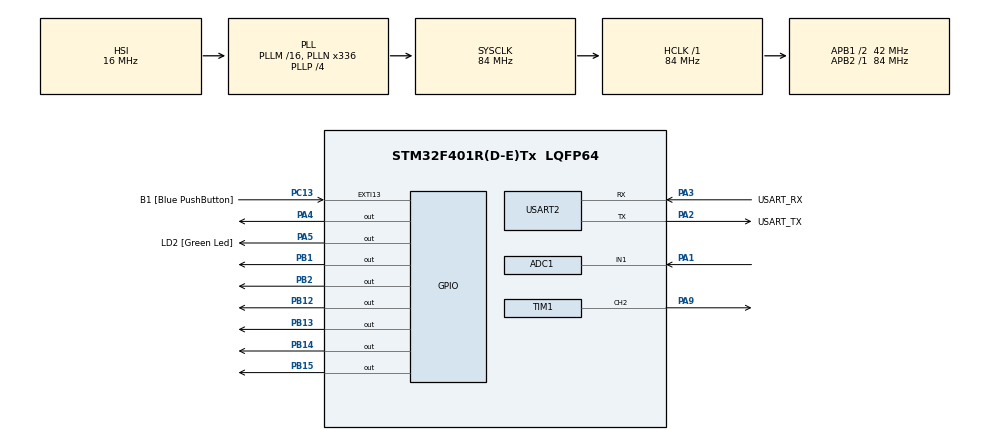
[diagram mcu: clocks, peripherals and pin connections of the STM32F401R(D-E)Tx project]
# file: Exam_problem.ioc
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ADC1.Channel-0\#ChannelRegularConversion=ADC_CHANNEL_1
ADC1.ExternalTrigConv=ADC_EXTERNALTRIGCONV_T2_TRGO
ADC1.NbrOfConversionFlag=1
ADC1.Rank-0\#ChannelRegularConversion=1
ADC1.SamplingTime-0\#ChannelRegularConversion=ADC_SAMPLETIME_480CYCLES
ADC1.master=1
Mcu.Family=STM32F4
Mcu.Name=STM32F401R(D-E)Tx
Mcu.Package=LQFP64
NVIC.ADC_IRQn=true\:0\:0\:false\:false\:true\:true\:true
NVIC.PriorityGroup=NVIC_PRIORITYGROUP_0
NVIC.TIM3_IRQn=true\:0\:0\:false\:false\:true\:true\:true
PA1.Signal=ADCx_IN1
PA13.GPIO_Label=TMS
PA13.Mode=Serial_Wire
PA13.Signal=SYS_JTMS-SWDIO
PA14.GPIO_Label=TCK
PA14.Mode=Serial_Wire
PA14.Signal=SYS_JTCK-SWCLK
PA2.GPIO_Label=USART_TX
PA2.GPIO_Mode=GPIO_MODE_AF_PP
PA2.GPIO_PuPd=GPIO_NOPULL
PA2.GPIO_Speed=GPIO_SPEED_FREQ_LOW
PA2.Mode=Asynchronous
PA2.Signal=USART2_TX
PA3.GPIO_Label=USART_RX
PA3.GPIO_Mode=GPIO_MODE_AF_PP
PA3.GPIO_PuPd=GPIO_NOPULL
PA3.GPIO_Speed=GPIO_SPEED_FREQ_LOW
PA3.Mode=Asynchronous
PA3.Signal=USART2_RX
PA4.Signal=GPIO_Output
PA5.GPIO_Label=LD2 [Green Led]
PA5.GPIO_Mode=GPIO_MODE_OUTPUT_PP
PA5.GPIO_PuPd=GPIO_NOPULL
PA5.GPIO_Speed=GPIO_SPEED_FREQ_LOW
PA5.Signal=GPIO_Output
PA9.Signal=S_TIM1_CH2
PB1.Signal=GPIO_Output
PB12.Signal=GPIO_Output
PB13.Signal=GPIO_Output
PB14.Signal=GPIO_Output
PB15.Signal=GPIO_Output
PB2.Signal=GPIO_Output
PB3.GPIO_Label=SWO
PB3.Signal=SYS_JTDO-SWO
PC13-ANTI_TAMP.GPIO_Label=B1 [Blue PushButton]
PC13-ANTI_TAMP.GPIO_ModeDefaultEXTI=GPIO_MODE_IT_FALLING
PC13-ANTI_TAMP.GPIO_PuPd=GPIO_NOPULL
PC13-ANTI_TAMP.Signal=GPXTI13
PC14-OSC32_IN.Mode=LSE-External-Oscillator
PC14-OSC32_IN.Signal=RCC_OSC32_IN
PC15-OSC32_OUT.Mode=LSE-External-Oscillator
PC15-OSC32_OUT.Signal=RCC_OSC32_OUT
PH0\ -\ OSC_IN.Mode=HSE-External-Clock-Source
PH0\ -\ OSC_IN.Signal=RCC_OSC_IN
PH1\ -\ OSC_OUT.Mode=HSE-External-Clock-Source
PH1\ -\ OSC_OUT.Signal=RCC_OSC_OUT
ProjectManager.HeapSize=0x200
ProjectManager.StackSize=0x400
ProjectManager.TargetToolchain=STM32CubeIDE
RCC.48MHZClocksFreq_Value=48000000
RCC.AHBFreq_Value=84000000
RCC.APB1CLKDivider=RCC_HCLK_DIV2
RCC.APB1Freq_Value=42000000
RCC.APB1TimFreq_Value=84000000
RCC.APB2Freq_Value=84000000
RCC.APB2TimFreq_Value=84000000
RCC.CortexFreq_Value=84000000
RCC.HCLKFreq_Value=84000000
RCC.HSE_VALUE=8000000
RCC.HSI_VALUE=16000000
RCC.PLLN=336
RCC.PLLP=RCC_PLLP_DIV4
RCC.PLLQ=7
RCC.SYSCLKFreq_VALUE=84000000
RCC.SYSCLKSource=RCC_SYSCLKSOURCE_PLLCLK
RCC.VCOOutputFreq_Value=336000000
SH.ADCx_IN1.0=ADC1_IN1,IN1
SH.S_TIM1_CH2.0=TIM1_CH2,PWM Generation2 CH2
TIM1.Channel-PWM\ Generation2\ CH2=TIM_CHANNEL_2
TIM2.Period=10000-1
TIM2.Prescaler=8400-1
TIM2.TIM_MasterOutputTrigger=TIM_TRGO_UPDATE
TIM3.Period=10000-1
TIM3.Prescaler=8400-1
USART2.VirtualMode=VM_ASYNC
VP_TIM2_VS_ClockSourceINT.Mode=Internal
VP_TIM3_VS_ClockSourceINT.Mode=Internal
board=NUCLEO-F401RE

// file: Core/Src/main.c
/* USER CODE BEGIN Header */
/**
  ******************************************************************************
  * @file           : main.c
  * @brief          : Main program body
  ******************************************************************************
  * @attention
  *
  * Copyright (c) 2022 STMicroelectronics.
  * All rights reserved.
  *
  * This software is licensed under terms that can be found in the LICENSE file
  * in the root directory of this software component.
  * If no LICENSE file comes with this software, it is provided AS-IS.
  *
  ******************************************************************************
  */
/* USER CODE END Header */
#include "main.h"

ADC_HandleTypeDef hadc1;

TIM_HandleTypeDef htim1;
TIM_HandleTypeDef htim2;
TIM_HandleTypeDef htim3;

UART_HandleTypeDef huart2;

void SystemClock_Config(void);
static void MX_GPIO_Init(void);
static void MX_USART2_UART_Init(void);
static void MX_ADC1_Init(void);
static void MX_TIM1_Init(void);
static void MX_TIM2_Init(void);
static void MX_TIM3_Init(void);

/* USER CODE BEGIN 0 */
#define SOL 2143
#define LA 1910

float conversion;
float old_value = 0.0;
void HAL_ADC_ConvCpltCallback(ADC_HandleTypeDef* hadc)
{

	          old_value = conversion;
	   		  int value = HAL_ADC_GetValue(&hadc1);
	   		  conversion = value*3.3/4096.0; //Conversion to float
	   		  char string [64];
	   		  int length =  snprintf(string, sizeof(string),"Value: %.3f V", conversion);
	   		  lcd_println(string, 0);
	   		  int bar_value = conversion*80/3.3;
	   		  lcd_drawBar(bar_value);

	   		  //if the old value was already less than 0.5, don't play the note
	   		  if(old_value >= 0.5 && conversion < 0.5)
	   		  {
	   			  playnote(SOL);
	   		  }
	   		  else if(old_value <= 2.8 && conversion > 2.8)
	   		  {
	   			  playnote(LA);
	   		  }

}

//plays the note for the counter of the note
void playnote(counter)
{
	 TIM_OC_InitTypeDef sConfigOC = {0};

	  /* USER CODE BEGIN TIM1_Init 1 */

	  /* USER CODE END TIM1_Init 1 */

	  htim1.Instance = TIM1;
	  htim1.Init.Prescaler = 100-1;
	  htim1.Init.CounterMode = TIM_COUNTERMODE_UP;
	  htim1.Init.Period = counter - 1;
	  htim1.Init.ClockDivision = TIM_CLOCKDIVISION_DIV1;
	  htim1.Init.RepetitionCounter = 0;
	  htim1.Init.AutoReloadPreload = TIM_AUTORELOAD_PRELOAD_DISABLE;
	  if (HAL_TIM_PWM_Init(&htim1) != HAL_OK)
	  {
		Error_Handler();
	  }

	  sConfigOC.OCMode = TIM_OCMODE_PWM1;
	  sConfigOC.Pulse = counter/2 - 1;
	  sConfigOC.OCPolarity = TIM_OCPOLARITY_HIGH;
	  sConfigOC.OCNPolarity = TIM_OCNPOLARITY_HIGH;
	  sConfigOC.OCFastMode = TIM_OCFAST_DISABLE;
	  sConfigOC.OCIdleState = TIM_OCIDLESTATE_RESET;
	  sConfigOC.OCNIdleState = TIM_OCNIDLESTATE_RESET;
	  if (HAL_TIM_PWM_ConfigChannel(&htim1, &sConfigOC, TIM_CHANNEL_2) != HAL_OK)
	  {
		Error_Handler();
	  }

	  HAL_TIM_PWM_Start(&htim1, TIM_CHANNEL_2);

	  HAL_TIM_Base_Start_IT(&htim3);

}

void HAL_TIM_PeriodElapsedCallback(TIM_HandleTypeDef *htim)
{
	if(htim == &htim3)
	{
		HAL_TIM_PWM_Stop(&htim1, TIM_CHANNEL_2);
		HAL_TIM_Base_Stop(&htim3);
	}
}
/* USER CODE END 0 */

int main(void)
{

  /* MCU Configuration--------------------------------------------------------*/

  /* Reset of all peripherals, Initializes the Flash interface and the Systick. */
  HAL_Init();

  /* Configure the system clock */
  SystemClock_Config();

  /* Initialize all configured peripherals */
  MX_GPIO_Init();
  MX_USART2_UART_Init();
  MX_ADC1_Init();
  MX_TIM1_Init();
  MX_TIM2_Init();
  MX_TIM3_Init();
  /* USER CODE BEGIN 2 */
  lcd_initialize();
  lcd_backlight_ON();
  HAL_TIM_Base_Start(&htim2);
  HAL_ADC_Start_IT(&hadc1);
  /* USER CODE END 2 */

  /* Infinite loop */
  while (1)
  {

  }
}

void SystemClock_Config(void)
{
  RCC_OscInitTypeDef RCC_OscInitStruct = {0};
  RCC_ClkInitTypeDef RCC_ClkInitStruct = {0};

  /** Configure the main internal regulator output voltage
  */
  __HAL_RCC_PWR_CLK_ENABLE();
  __HAL_PWR_VOLTAGESCALING_CONFIG(PWR_REGULATOR_VOLTAGE_SCALE2);
  /** Initializes the RCC Oscillators according to the specified parameters
  * in the RCC_OscInitTypeDef structure.
  */
  RCC_OscInitStruct.OscillatorType = RCC_OSCILLATORTYPE_HSI;
  RCC_OscInitStruct.HSIState = RCC_HSI_ON;
  RCC_OscInitStruct.HSICalibrationValue = RCC_HSICALIBRATION_DEFAULT;
  RCC_OscInitStruct.PLL.PLLState = RCC_PLL_ON;
  RCC_OscInitStruct.PLL.PLLSource = RCC_PLLSOURCE_HSI;
  RCC_OscInitStruct.PLL.PLLM = 16;
  RCC_OscInitStruct.PLL.PLLN = 336;
  RCC_OscInitStruct.PLL.PLLP = RCC_PLLP_DIV4;
  RCC_OscInitStruct.PLL.PLLQ = 7;
  if (HAL_RCC_OscConfig(&RCC_OscInitStruct) != HAL_OK)
  {
    Error_Handler();
  }
  /** Initializes the CPU, AHB and APB buses clocks
  */
  RCC_ClkInitStruct.ClockType = RCC_CLOCKTYPE_HCLK|RCC_CLOCKTYPE_SYSCLK
                              |RCC_CLOCKTYPE_PCLK1|RCC_CLOCKTYPE_PCLK2;
  RCC_ClkInitStruct.SYSCLKSource = RCC_SYSCLKSOURCE_PLLCLK;
  RCC_ClkInitStruct.AHBCLKDivider = RCC_SYSCLK_DIV1;
  RCC_ClkInitStruct.APB1CLKDivider = RCC_HCLK_DIV2;
  RCC_ClkInitStruct.APB2CLKDivider = RCC_HCLK_DIV1;

  if (HAL_RCC_ClockConfig(&RCC_ClkInitStruct, FLASH_LATENCY_2) != HAL_OK)
  {
    Error_Handler();
  }
}

static void MX_ADC1_Init(void)
{

  ADC_ChannelConfTypeDef sConfig = {0};

  /** Configure the global features of the ADC (Clock, Resolution, Data Alignment and number of conversion)
  */
  hadc1.Instance = ADC1;
  hadc1.Init.ClockPrescaler = ADC_CLOCK_SYNC_PCLK_DIV4;
  hadc1.Init.Resolution = ADC_RESOLUTION_12B;
  hadc1.Init.ScanConvMode = DISABLE;
  hadc1.Init.ContinuousConvMode = DISABLE;
  hadc1.Init.DiscontinuousConvMode = DISABLE;
  hadc1.Init.ExternalTrigConvEdge = ADC_EXTERNALTRIGCONVEDGE_RISING;
  hadc1.Init.ExternalTrigConv = ADC_EXTERNALTRIGCONV_T2_TRGO;
  hadc1.Init.DataAlign = ADC_DATAALIGN_RIGHT;
  hadc1.Init.NbrOfConversion = 1;
  hadc1.Init.DMAContinuousRequests = DISABLE;
  hadc1.Init.EOCSelection = ADC_EOC_SINGLE_CONV;
  if (HAL_ADC_Init(&hadc1) != HAL_OK)
  {
    Error_Handler();
  }
  /** Configure for the selected ADC regular channel its corresponding rank in the sequencer and its sample time.
  */
  sConfig.Channel = ADC_CHANNEL_1;
  sConfig.Rank = 1;
  sConfig.SamplingTime = ADC_SAMPLETIME_480CYCLES;
  if (HAL_ADC_ConfigChannel(&hadc1, &sConfig) != HAL_OK)
  {
    Error_Handler();
  }

}

static void MX_TIM1_Init(void)
{

  TIM_MasterConfigTypeDef sMasterConfig = {0};
  TIM_OC_InitTypeDef sConfigOC = {0};
  TIM_BreakDeadTimeConfigTypeDef sBreakDeadTimeConfig = {0};

  htim1.Instance = TIM1;
  htim1.Init.Prescaler = 0;
  htim1.Init.CounterMode = TIM_COUNTERMODE_UP;
  htim1.Init.Period = 65535;
  htim1.Init.ClockDivision = TIM_CLOCKDIVISION_DIV1;
  htim1.Init.RepetitionCounter = 0;
  htim1.Init.AutoReloadPreload = TIM_AUTORELOAD_PRELOAD_DISABLE;
  if (HAL_TIM_PWM_Init(&htim1) != HAL_OK)
  {
    Error_Handler();
  }
  sMasterConfig.MasterOutputTrigger = TIM_TRGO_RESET;
  sMasterConfig.MasterSlaveMode = TIM_MASTERSLAVEMODE_DISABLE;
  if (HAL_TIMEx_MasterConfigSynchronization(&htim1, &sMasterConfig) != HAL_OK)
  {
    Error_Handler();
  }
  sConfigOC.OCMode = TIM_OCMODE_PWM1;
  sConfigOC.Pulse = 0;
  sConfigOC.OCPolarity = TIM_OCPOLARITY_HIGH;
  sConfigOC.OCNPolarity = TIM_OCNPOLARITY_HIGH;
  sConfigOC.OCFastMode = TIM_OCFAST_DISABLE;
  sConfigOC.OCIdleState = TIM_OCIDLESTATE_RESET;
  sConfigOC.OCNIdleState = TIM_OCNIDLESTATE_RESET;
  if (HAL_TIM_PWM_ConfigChannel(&htim1, &sConfigOC, TIM_CHANNEL_2) != HAL_OK)
  {
    Error_Handler();
  }
  sBreakDeadTimeConfig.OffStateRunMode = TIM_OSSR_DISABLE;
  sBreakDeadTimeConfig.OffStateIDLEMode = TIM_OSSI_DISABLE;
  sBreakDeadTimeConfig.LockLevel = TIM_LOCKLEVEL_OFF;
  sBreakDeadTimeConfig.DeadTime = 0;
  sBreakDeadTimeConfig.BreakState = TIM_BREAK_DISABLE;
  sBreakDeadTimeConfig.BreakPolarity = TIM_BREAKPOLARITY_HIGH;
  sBreakDeadTimeConfig.AutomaticOutput = TIM_AUTOMATICOUTPUT_DISABLE;
  if (HAL_TIMEx_ConfigBreakDeadTime(&htim1, &sBreakDeadTimeConfig) != HAL_OK)
  {
    Error_Handler();
  }
  HAL_TIM_MspPostInit(&htim1);

}

static void MX_TIM2_Init(void)
{

  TIM_ClockConfigTypeDef sClockSourceConfig = {0};
  TIM_MasterConfigTypeDef sMasterConfig = {0};

  htim2.Instance = TIM2;
  htim2.Init.Prescaler = 8400-1;
  htim2.Init.CounterMode = TIM_COUNTERMODE_UP;
  htim2.Init.Period = 10000-1;
  htim2.Init.ClockDivision = TIM_CLOCKDIVISION_DIV1;
  htim2.Init.AutoReloadPreload = TIM_AUTORELOAD_PRELOAD_DISABLE;
  if (HAL_TIM_Base_Init(&htim2) != HAL_OK)
  {
    Error_Handler();
  }
  sClockSourceConfig.ClockSource = TIM_CLOCKSOURCE_INTERNAL;
  if (HAL_TIM_ConfigClockSource(&htim2, &sClockSourceConfig) != HAL_OK)
  {
    Error_Handler();
  }
  sMasterConfig.MasterOutputTrigger = TIM_TRGO_UPDATE;
  sMasterConfig.MasterSlaveMode = TIM_MASTERSLAVEMODE_DISABLE;
  if (HAL_TIMEx_MasterConfigSynchronization(&htim2, &sMasterConfig) != HAL_OK)
  {
    Error_Handler();
  }

}

static void MX_TIM3_Init(void)
{

  TIM_ClockConfigTypeDef sClockSourceConfig = {0};
  TIM_MasterConfigTypeDef sMasterConfig = {0};

  htim3.Instance = TIM3;
  htim3.Init.Prescaler = 8400-1;
  htim3.Init.CounterMode = TIM_COUNTERMODE_UP;
  htim3.Init.Period = 10000-1;
  htim3.Init.ClockDivision = TIM_CLOCKDIVISION_DIV1;
  htim3.Init.AutoReloadPreload = TIM_AUTORELOAD_PRELOAD_DISABLE;
  if (HAL_TIM_Base_Init(&htim3) != HAL_OK)
  {
    Error_Handler();
  }
  sClockSourceConfig.ClockSource = TIM_CLOCKSOURCE_INTERNAL;
  if (HAL_TIM_ConfigClockSource(&htim3, &sClockSourceConfig) != HAL_OK)
  {
    Error_Handler();
  }
  sMasterConfig.MasterOutputTrigger = TIM_TRGO_RESET;
  sMasterConfig.MasterSlaveMode = TIM_MASTERSLAVEMODE_DISABLE;
  if (HAL_TIMEx_MasterConfigSynchronization(&htim3, &sMasterConfig) != HAL_OK)
  {
    Error_Handler();
  }

}

static void MX_USART2_UART_Init(void)
{

  huart2.Instance = USART2;
  huart2.Init.BaudRate = 115200;
  huart2.Init.WordLength = UART_WORDLENGTH_8B;
  huart2.Init.StopBits = UART_STOPBITS_1;
  huart2.Init.Parity = UART_PARITY_NONE;
  huart2.Init.Mode = UART_MODE_TX_RX;
  huart2.Init.HwFlowCtl = UART_HWCONTROL_NONE;
  huart2.Init.OverSampling = UART_OVERSAMPLING_16;
  if (HAL_UART_Init(&huart2) != HAL_OK)
  {
    Error_Handler();
  }

}

static void MX_GPIO_Init(void)
{
  GPIO_InitTypeDef GPIO_InitStruct = {0};

  /* GPIO Ports Clock Enable */
  __HAL_RCC_GPIOC_CLK_ENABLE();
  __HAL_RCC_GPIOH_CLK_ENABLE();
  __HAL_RCC_GPIOA_CLK_ENABLE();
  __HAL_RCC_GPIOB_CLK_ENABLE();

  /*Configure GPIO pin Output Level */
  HAL_GPIO_WritePin(GPIOA, GPIO_PIN_4|LD2_Pin, GPIO_PIN_RESET);

  /*Configure GPIO pin Output Level */
  HAL_GPIO_WritePin(GPIOB, GPIO_PIN_1|GPIO_PIN_2|GPIO_PIN_12|GPIO_PIN_13
                          |GPIO_PIN_14|GPIO_PIN_15, GPIO_PIN_RESET);

  /*Configure GPIO pin : B1_Pin */
  GPIO_InitStruct.Pin = B1_Pin;
  GPIO_InitStruct.Mode = GPIO_MODE_IT_FALLING;
  GPIO_InitStruct.Pull = GPIO_NOPULL;
  HAL_GPIO_Init(B1_GPIO_Port, &GPIO_InitStruct);

  /*Configure GPIO pins : PA4 LD2_Pin */
  GPIO_InitStruct.Pin = GPIO_PIN_4|LD2_Pin;
  GPIO_InitStruct.Mode = GPIO_MODE_OUTPUT_PP;
  GPIO_InitStruct.Pull = GPIO_NOPULL;
  GPIO_InitStruct.Speed = GPIO_SPEED_FREQ_LOW;
  HAL_GPIO_Init(GPIOA, &GPIO_InitStruct);

  /*Configure GPIO pins : PB1 PB2 PB12 PB13
                           PB14 PB15 */
  GPIO_InitStruct.Pin = GPIO_PIN_1|GPIO_PIN_2|GPIO_PIN_12|GPIO_PIN_13
                          |GPIO_PIN_14|GPIO_PIN_15;
  GPIO_InitStruct.Mode = GPIO_MODE_OUTPUT_PP;
  GPIO_InitStruct.Pull = GPIO_NOPULL;
  GPIO_InitStruct.Speed = GPIO_SPEED_FREQ_LOW;
  HAL_GPIO_Init(GPIOB, &GPIO_InitStruct);

}

void Error_Handler(void)
{
  __disable_irq();
  while (1)
  {
  }
}
